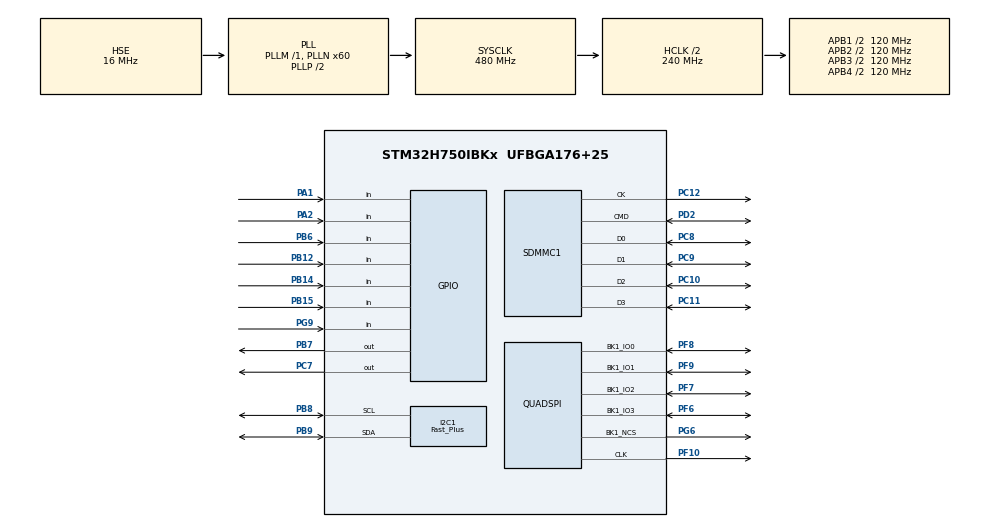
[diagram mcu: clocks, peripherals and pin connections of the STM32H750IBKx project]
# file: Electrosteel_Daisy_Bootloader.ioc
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CORTEX_M7.AccessPermission-Cortex_Memory_Protection_Unit_Region0_Settings=MPU_REGION_FULL_ACCESS
CORTEX_M7.BaseAddress-Cortex_Memory_Protection_Unit_Region0_Settings=0x90000000
CORTEX_M7.CPU_DCache=Disabled
CORTEX_M7.CPU_ICache=Disabled
CORTEX_M7.Enable-Cortex_Memory_Protection_Unit_Region0_Settings=MPU_REGION_ENABLE
CORTEX_M7.MPU_Control=MPU_PRIVILEGED_DEFAULT
CORTEX_M7.Size-Cortex_Memory_Protection_Unit_Region0_Settings=MPU_REGION_SIZE_8MB
CORTEX_M7.default_mode_Activation=0
FATFS.BSP.number=1
FATFS.USE_DMA_CODE_SD=0
FATFS._FS_NORTC=0
FATFS._USE_FASTSEEK=0
FATFS._USE_FIND=1
FATFS._USE_LFN=1
FATFS0.BSP.STBoard=false
FATFS0.BSP.api=Unknown
FATFS0.BSP.instance=PA1
FATFS0.BSP.ip=GPIO
FATFS0.BSP.mode=Input
FATFS0.BSP.name=Detect_SDIO
FATFS0.BSP.solution=PA1
I2C1.GeneralCallMode=I2C_GENERALCALL_DISABLE
I2C1.I2C_Speed_Mode=I2C_Fast_Plus
I2C1.OwnAddress=34
I2C1.Timing=0x0050174F
Mcu.Family=STM32H7
Mcu.Name=STM32H750IBKx
Mcu.Package=UFBGA176+25
NVIC.PriorityGroup=NVIC_PRIORITYGROUP_4
NVIC.SDMMC1_IRQn=true\:2\:0\:true\:false\:true\:true\:true\:true
PA1.GPIO_PuPd=GPIO_PULLUP
PA1.Signal=GPIO_Input
PA13\ (JTMS/SWDIO).Mode=Trace_Asynchronous_SW
PA13\ (JTMS/SWDIO).Signal=DEBUG_JTMS-SWDIO
PA14\ (JTCK/SWCLK).Mode=Trace_Asynchronous_SW
PA14\ (JTCK/SWCLK).Signal=DEBUG_JTCK-SWCLK
PA2.GPIO_PuPd=GPIO_PULLDOWN
PA2.Signal=GPIO_Input
PB12.Signal=GPIO_Input
PB14.GPIO_PuPd=GPIO_PULLDOWN
PB14.Signal=GPIO_Input
PB15.GPIO_PuPd=GPIO_PULLDOWN
PB15.Signal=GPIO_Input
PB3\ (JTDO/TRACESWO).Mode=Trace_Asynchronous_SW
PB3\ (JTDO/TRACESWO).Signal=DEBUG_JTDO-SWO
PB6.GPIO_PuPd=GPIO_PULLUP
PB6.Signal=GPIO_Input
PB7.Signal=GPIO_Output
PB8.GPIO_Speed=GPIO_SPEED_FREQ_VERY_HIGH
PB8.Mode=I2C
PB8.Signal=I2C1_SCL
PB9.GPIO_Speed=GPIO_SPEED_FREQ_VERY_HIGH
PB9.Mode=I2C
PB9.Signal=I2C1_SDA
PC10.GPIO_PuPd=GPIO_NOPULL
PC10.Mode=SD_4_bits_Wide_bus
PC10.Signal=SDMMC1_D2
PC11.GPIO_PuPd=GPIO_NOPULL
PC11.Mode=SD_4_bits_Wide_bus
PC11.Signal=SDMMC1_D3
PC12.GPIO_PuPd=GPIO_NOPULL
PC12.Mode=SD_4_bits_Wide_bus
PC12.Signal=SDMMC1_CK
PC7.Signal=GPIO_Output
PC8.GPIO_PuPd=GPIO_NOPULL
PC8.Mode=SD_4_bits_Wide_bus
PC8.Signal=SDMMC1_D0
PC9.GPIO_PuPd=GPIO_NOPULL
PC9.Mode=SD_4_bits_Wide_bus
PC9.Signal=SDMMC1_D1
PD2.GPIO_PuPd=GPIO_NOPULL
PD2.Mode=SD_4_bits_Wide_bus
PD2.Signal=SDMMC1_CMD
PF10.GPIO_Speed=GPIO_SPEED_FREQ_VERY_HIGH
PF10.Mode=Single Bank 1
PF10.Signal=QUADSPI_CLK
PF6.GPIO_Speed=GPIO_SPEED_FREQ_VERY_HIGH
PF6.Mode=Single Bank 1
PF6.Signal=QUADSPI_BK1_IO3
PF7.GPIO_Speed=GPIO_SPEED_FREQ_VERY_HIGH
PF7.Mode=Single Bank 1
PF7.Signal=QUADSPI_BK1_IO2
PF8.GPIO_Speed=GPIO_SPEED_FREQ_VERY_HIGH
PF8.Mode=Single Bank 1
PF8.Signal=QUADSPI_BK1_IO0
PF9.GPIO_Speed=GPIO_SPEED_FREQ_VERY_HIGH
PF9.Mode=Single Bank 1
PF9.Signal=QUADSPI_BK1_IO1
PG6.GPIO_Speed=GPIO_SPEED_FREQ_VERY_HIGH
PG6.Mode=Single Bank 1
PG6.Signal=QUADSPI_BK1_NCS
PG9.Signal=GPIO_Input
PH0-OSC_IN\ (PH0).Mode=HSE-External-Oscillator
PH0-OSC_IN\ (PH0).Signal=RCC_OSC_IN
PH1-OSC_OUT\ (PH1).Mode=HSE-External-Oscillator
PH1-OSC_OUT\ (PH1).Signal=RCC_OSC_OUT
ProjectManager.HeapSize=0x2000
ProjectManager.StackSize=0x4000
ProjectManager.TargetToolchain=STM32CubeIDE
QUADSPI.ClockPrescaler=1
QUADSPI.FlashSize=19
RCC.ADCCLockSelection=RCC_ADCCLKSOURCE_PLL3
RCC.ADCFreq_Value=12288085.9375
RCC.APB1Freq_Value=120000000
RCC.APB2Freq_Value=120000000
RCC.APB3Freq_Value=120000000
RCC.APB4Freq_Value=120000000
RCC.CKPERSourceSelection=RCC_CLKPSOURCE_HSE
RCC.CortexFreq_Value=480000000
RCC.D1PPRE=RCC_APB3_DIV2
RCC.D2PPRE1=RCC_APB1_DIV2
RCC.D2PPRE2=RCC_APB2_DIV2
RCC.D3PPRE=RCC_APB4_DIV2
RCC.DIVM1=1
RCC.DIVM2=1
RCC.DIVM3=1
RCC.DIVN1=60
RCC.DIVN2=12
RCC.DIVN3=12
RCC.DIVP2=8
RCC.DIVP3=4
RCC.DIVQ1=6
RCC.DIVQ3=8
RCC.DIVR1=8
RCC.DIVR3=16
RCC.FMCCLockSelection=RCC_FMCCLKSOURCE_PLL2
RCC.HCLKFreq_Value=240000000
RCC.HPRE=RCC_HCLK_DIV2
RCC.HSE_VALUE=16000000
RCC.PLL2FRACN=4096
RCC.PLL3FRACN=2360
RCC.PLLFRACN=0
RCC.PLLSourceVirtual=RCC_PLLSOURCE_HSE
RCC.ProductRev=revV
RCC.QSPICLockSelection=RCC_QSPICLKSOURCE_PLL2
RCC.SAI1CLockSelection=RCC_SAI1CLKSOURCE_PLL3
RCC.SAI23CLockSelection=RCC_SAI23CLKSOURCE_PLL3
RCC.SYSCLKFreq_VALUE=480000000
RCC.SYSCLKSource=RCC_SYSCLKSOURCE_PLLCLK
RCC.USBCLockSelection=RCC_USBCLKSOURCE_HSI48
RCC.USBFreq_Value=48000000
SDMMC1.ClockDiv=25
SDMMC1.USE_SD_TRANSCEIVER=0U
VP_FATFS_VS_SDIO.Mode=SDIO
board=custom

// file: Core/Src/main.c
/* USER CODE BEGIN Header */
/**
  ******************************************************************************
  * @file           : main.c
  * @brief          : Main program body
  ******************************************************************************
  * @attention
  *
  * Copyright (c) 2022 STMicroelectronics.
  * All rights reserved.
  *
  * This software is licensed under terms that can be found in the LICENSE file
  * in the root directory of this software component.
  * If no LICENSE file comes with this software, it is provided AS-IS.
  *
  ******************************************************************************
  */
/* USER CODE END Header */
#include "main.h"
#include "fatfs.h"
#include "i2c.h"
#include "quadspi.h"
#include "sdmmc.h"
#include "gpio.h"

/* USER CODE BEGIN Includes */
#include "flash.h"
/* USER CODE END Includes */

/* USER CODE BEGIN PD */
#define QSPI_START  0x90000000
/* USER CODE END PD */

void SystemClock_Config(void);
static void MPU_Config(void);
/* USER CODE BEGIN PFP */
static void FS_FileOperations(void);
void qspi_initialize(uint8_t mode);
__attribute__((noreturn)) static void boot_to(uint32_t addr);
void qspi_enable_memory_mapped();
void i2cError(void);
void checkForNewFirmwareFromMainSynthBoard(void);
/* USER CODE END PFP */

/* USER CODE BEGIN 0 */
FILINFO fno;
DIR dir;

uint8_t tempBinaryBuffer[262144] __ATTR_SRAM;
UINT bytesRead = 0;
uint32_t binSize = 4000;
uint8_t flash_mem[262144] __ATTR_QSPI;
uint8_t volatile bootloaderFlag[32] __ATTR_USER_FLASH;
uint8_t bootloader_button_pressed = 0;

/* Private typedef -----------------------------------------------------------*/
typedef  void (*pFunction)(void);
/* Private define ------------------------------------------------------------*/
/* Private macro -------------------------------------------------------------*/
/* Private variables ---------------------------------------------------------*/
pFunction JumpToApplication;

#define APPLICATION_ADDRESS (uint32_t)0x24000000
volatile uint8_t memory_already_mapped = 0;
uint8_t boardNumber = 255;

void FlushECC(void *ptr, int bytes)
{

	uint32_t addr = (uint32_t)ptr;
	/* Check if accessing AXI SRAM => 64-bit words*/
	if(addr >= 0x24000000 && addr < 0x24080000){
		volatile uint64_t temp;
		volatile uint64_t* flush_ptr = (uint64_t*) (addr & 0xFFFFFFF8);
		uint64_t *end_ptr = (uint64_t*) ((addr+bytes) & 0xFFFFFFF8);

		do{
			temp = *flush_ptr;
			*flush_ptr = temp;
			flush_ptr++;
		}while(flush_ptr != end_ptr);
	}
	/* Otherwise 32-bit words */
	else {
		volatile uint32_t temp;
		volatile uint32_t* flush_ptr = (uint32_t*) (addr & 0xFFFFFFFC);
		uint32_t *end_ptr = (uint32_t*) ((addr+bytes) & 0xFFFFFFFC);

		do{
			temp = *flush_ptr;
			*flush_ptr = temp;
			flush_ptr++;
		}while(flush_ptr != end_ptr);
	}
}

uint8_t BSP_SD_IsDetected(void)
{
  __IO uint8_t status = SD_PRESENT;

  //if (BSP_PlatformIsDetected() == 0x0)
  {
    //status = SD_NOT_PRESENT;
  }

  return status;
}

/* USER CODE END 0 */

int main(void)
{

  /* USER CODE BEGIN 1 */
	  /* Enable I-Cache---------------------------------------------------------*/
	  //SCB_EnableICache();

	  /* Enable D-Cache---------------------------------------------------------*/
	  //SCB_EnableDCache();

  /* USER CODE END 1 */

  /* MPU Configuration--------------------------------------------------------*/
  MPU_Config();

  /* MCU Configuration--------------------------------------------------------*/

  /* Reset of all peripherals, Initializes the Flash interface and the Systick. */
  HAL_Init();

  /* Configure the system clock */
  SystemClock_Config();

  /* Initialize all configured peripherals */
  MX_GPIO_Init();
  MX_QUADSPI_Init();
  MX_SDMMC1_SD_Init();
  MX_FATFS_Init();
  MX_I2C1_Init();
  /* USER CODE BEGIN 2 */

  /* Enable write access to Backup domain */
     PWR->CR1 |= PWR_CR1_DBP;
     while((PWR->CR1 & PWR_CR1_DBP) == RESET)
     {
  	   ;
     }
     /*Enable BKPRAM clock*/
     __HAL_RCC_BKPRAM_CLK_ENABLE();
     HAL_GPIO_WritePin(GPIOB, GPIO_PIN_7, GPIO_PIN_SET);
     HAL_Delay(100);
 	int bit0 = HAL_GPIO_ReadPin(GPIOB, GPIO_PIN_15);
 	int bit1 = HAL_GPIO_ReadPin(GPIOB, GPIO_PIN_14);
 	int bit2 = HAL_GPIO_ReadPin(GPIOA, GPIO_PIN_2);
 	int bit3 = HAL_GPIO_ReadPin(GPIOG, GPIO_PIN_9);
 	boardNumber = (bit0 + (bit1 << 1)+(bit2 << 2)+(bit3 << 3));
 	if (boardNumber == 0)
 	{
		  //set up the master send control pin to signal other daisies to listen to I2C bus
		  HAL_NVIC_DisableIRQ(EXTI15_10_IRQn);

 		  GPIO_InitTypeDef GPIO_InitStruct = {0};
		  GPIO_InitStruct.Pin = GPIO_PIN_12;
		  GPIO_InitStruct.Mode = GPIO_MODE_OUTPUT_PP;
		  GPIO_InitStruct.Pull = GPIO_PULLDOWN;
		  GPIO_InitStruct.Speed = GPIO_SPEED_FREQ_LOW;

		  HAL_GPIO_Init(GPIOB, &GPIO_InitStruct);
 		  HAL_GPIO_WritePin(GPIOB, GPIO_PIN_12, GPIO_PIN_RESET);

 		if (HAL_GPIO_ReadPin(GPIOB, GPIO_PIN_6) == 0)
 		{
 			bootloader_button_pressed = 1;
 		}
 		else
 		{
 			bootloader_button_pressed = 0;
 		}
 	}
    //if (*(__IO uint32_t*)(0x38800000+36) != 12345678)

	qspi_initialize(INDIRECT_POLLING);
	HAL_GPIO_WritePin(GPIOB, GPIO_PIN_7, GPIO_PIN_RESET);

	if (bootloader_button_pressed == 1)
	{
		HAL_GPIO_WritePin(GPIOB, GPIO_PIN_12, GPIO_PIN_SET); // tell the other ICs

		MX_I2C1_Init();
		MX_SDMMC1_SD_Init();
		MX_FATFS_Init();

		int i = 6;
		while(i--)
		{
		  HAL_GPIO_TogglePin(GPIOC, GPIO_PIN_7);
		  HAL_Delay(100);
		}

		FS_FileOperations();

		if (!memory_already_mapped)
		{
		  qspi_enable_memory_mapped();
		}

		//copy qspi flash code into SRAM location on every boot.
		for (int i = 0; i < 262140; i++)
		{
		  tempBinaryBuffer[i] = flash_mem[i];
		}

		//wait for manual bootloader button to go up (lets us test things by holding the device in this state)
		while(HAL_GPIO_ReadPin(GPIOB, GPIO_PIN_6) == 0)
		{
		  ;
		}
		//bring signal pin down to tell the other chips we're ready to send firmware over I2C
		HAL_GPIO_WritePin(GPIOB, GPIO_PIN_12, GPIO_PIN_RESET);
		HAL_Delay(100); //wait for them to receive and get ready

		HAL_GPIO_WritePin(GPIOC, GPIO_PIN_7, GPIO_PIN_SET);
		HAL_I2C_Master_Transmit(&hi2c1, 34<<1, tempBinaryBuffer, 65535,
			10000);
		HAL_Delay(500);
		HAL_GPIO_WritePin(GPIOC, GPIO_PIN_7, GPIO_PIN_RESET);
		HAL_I2C_Master_Transmit(&hi2c1, 34<<1, tempBinaryBuffer+65535, 65535,
			10000);
		HAL_Delay(500);
		HAL_GPIO_WritePin(GPIOC, GPIO_PIN_7, GPIO_PIN_SET);
		HAL_I2C_Master_Transmit(&hi2c1, 34<<1, tempBinaryBuffer+131070, 65535,
			10000);
		HAL_Delay(500);
		HAL_GPIO_WritePin(GPIOC, GPIO_PIN_7, GPIO_PIN_RESET);
		HAL_I2C_Master_Transmit(&hi2c1, 34<<1, tempBinaryBuffer+196605, 65535,
			10000);
		HAL_GPIO_WritePin(GPIOC, GPIO_PIN_7, GPIO_PIN_SET);

		HAL_Delay(6000);
		HAL_GPIO_WritePin(GPIOC, GPIO_PIN_7, GPIO_PIN_RESET);
		HAL_QSPI_MspDeInit(&hqspi);
		HAL_I2C_DeInit(&hi2c1);
		HAL_SD_MspDeInit(&hsd1);

		HAL_RCC_DeInit();
		HAL_DeInit();
		SysTick->CTRL = 0;
		SysTick->LOAD = 0;
		SysTick->VAL  = 0;

		HAL_NVIC_SystemReset();

	}

    else
    {
		int i = 6;
		HAL_Delay(10);
		while(i--)
		{
			HAL_GPIO_TogglePin(GPIOC, GPIO_PIN_7);
			HAL_Delay(60);
		}
		checkForNewFirmwareFromMainSynthBoard();
		if (!memory_already_mapped)
		{
		 	qspi_enable_memory_mapped();

		}
		//copy qspi flash code into SRAM location on every boot.
		for (int i = 0; i < 262140; i++)
		{
			tempBinaryBuffer[i] = flash_mem[i];
		}

		HAL_GPIO_TogglePin(GPIOC, GPIO_PIN_7);
		JumpToApplication = (pFunction) (*(__IO uint32_t*) (APPLICATION_ADDRESS+4));
		HAL_GPIO_WritePin(GPIOB, GPIO_PIN_7, GPIO_PIN_SET);
		HAL_Delay(1);
		if (((uint32_t)JumpToApplication > 0x30000000) ||  ((uint32_t)JumpToApplication < 0x24000000) )
		{
			//out of range, not a valid firmware
			while(1)
			{
				if (memory_already_mapped)
				{
					qspi_initialize(INDIRECT_POLLING);
				}
				HAL_Delay(1);
				HAL_GPIO_TogglePin(GPIOC, GPIO_PIN_7);
			}
		}
		//otherwise, boot it up!
		HAL_QSPI_MspDeInit(&hqspi);

		HAL_RCC_DeInit();
		HAL_DeInit();
		__disable_irq();

		NVIC->ICER[0] = 0xFFFFFFFF;
		NVIC->ICER[1] = 0xFFFFFFFF;
		NVIC->ICER[2] = 0xFFFFFFFF;
		NVIC->ICER[3] = 0xFFFFFFFF;
		NVIC->ICER[4] = 0xFFFFFFFF;
		NVIC->ICER[5] = 0xFFFFFFFF;
		NVIC->ICER[6] = 0xFFFFFFFF;
		NVIC->ICER[7] = 0xFFFFFFFF;

		NVIC->ICPR[0] = 0xFFFFFFFF;
		NVIC->ICPR[1] = 0xFFFFFFFF;
		NVIC->ICPR[2] = 0xFFFFFFFF;
		NVIC->ICPR[3] = 0xFFFFFFFF;
		NVIC->ICPR[4] = 0xFFFFFFFF;
		NVIC->ICPR[5] = 0xFFFFFFFF;
		NVIC->ICPR[6] = 0xFFFFFFFF;
		NVIC->ICPR[7] = 0xFFFFFFFF;

		SysTick->CTRL = 0;
		SysTick->LOAD = 0; // Needed?
		SysTick->VAL = 0;  // Needed?
		SCB->ICSR |= SCB_ICSR_PENDSTCLR_Msk;

		SCB->SHCSR &= ~(SCB_SHCSR_USGFAULTENA_Msk | //
						SCB_SHCSR_BUSFAULTENA_Msk | //
						SCB_SHCSR_MEMFAULTENA_Msk);

		__set_MSP(*(__IO uint32_t*) APPLICATION_ADDRESS);
		__set_PSP(*(__IO uint32_t*) APPLICATION_ADDRESS);
		SCB->VTOR = APPLICATION_ADDRESS;
		__set_CONTROL(0);

		SysTick->CTRL = 0;
		SysTick->LOAD = 0;
		SysTick->VAL  = 0;

		JumpToApplication();
	}

  /* USER CODE END 2 */

  /* Infinite loop */
	while (1)
	{

	}
}

void SystemClock_Config(void)
{
  RCC_OscInitTypeDef RCC_OscInitStruct = {0};
  RCC_ClkInitTypeDef RCC_ClkInitStruct = {0};

  /** Supply configuration update enable
  */
  HAL_PWREx_ConfigSupply(PWR_LDO_SUPPLY);

  /** Configure the main internal regulator output voltage
  */
  __HAL_PWR_VOLTAGESCALING_CONFIG(PWR_REGULATOR_VOLTAGE_SCALE0);

  while(!__HAL_PWR_GET_FLAG(PWR_FLAG_VOSRDY)) {}

  /** Initializes the RCC Oscillators according to the specified parameters
  * in the RCC_OscInitTypeDef structure.
  */
  RCC_OscInitStruct.OscillatorType = RCC_OSCILLATORTYPE_HSE;
  RCC_OscInitStruct.HSEState = RCC_HSE_ON;
  RCC_OscInitStruct.PLL.PLLState = RCC_PLL_ON;
  RCC_OscInitStruct.PLL.PLLSource = RCC_PLLSOURCE_HSE;
  RCC_OscInitStruct.PLL.PLLM = 1;
  RCC_OscInitStruct.PLL.PLLN = 60;
  RCC_OscInitStruct.PLL.PLLP = 2;
  RCC_OscInitStruct.PLL.PLLQ = 6;
  RCC_OscInitStruct.PLL.PLLR = 8;
  RCC_OscInitStruct.PLL.PLLRGE = RCC_PLL1VCIRANGE_3;
  RCC_OscInitStruct.PLL.PLLVCOSEL = RCC_PLL1VCOWIDE;
  RCC_OscInitStruct.PLL.PLLFRACN = 0;
  if (HAL_RCC_OscConfig(&RCC_OscInitStruct) != HAL_OK)
  {
    Error_Handler();
  }

  /** Initializes the CPU, AHB and APB buses clocks
  */
  RCC_ClkInitStruct.ClockType = RCC_CLOCKTYPE_HCLK|RCC_CLOCKTYPE_SYSCLK
                              |RCC_CLOCKTYPE_PCLK1|RCC_CLOCKTYPE_PCLK2
                              |RCC_CLOCKTYPE_D3PCLK1|RCC_CLOCKTYPE_D1PCLK1;
  RCC_ClkInitStruct.SYSCLKSource = RCC_SYSCLKSOURCE_PLLCLK;
  RCC_ClkInitStruct.SYSCLKDivider = RCC_SYSCLK_DIV1;
  RCC_ClkInitStruct.AHBCLKDivider = RCC_HCLK_DIV2;
  RCC_ClkInitStruct.APB3CLKDivider = RCC_APB3_DIV2;
  RCC_ClkInitStruct.APB1CLKDivider = RCC_APB1_DIV2;
  RCC_ClkInitStruct.APB2CLKDivider = RCC_APB2_DIV2;
  RCC_ClkInitStruct.APB4CLKDivider = RCC_APB4_DIV2;

  if (HAL_RCC_ClockConfig(&RCC_ClkInitStruct, FLASH_LATENCY_4) != HAL_OK)
  {
    Error_Handler();
  }
}

/* USER CODE BEGIN 4 */
void i2cError(void)
{
	while(1)
	{
		HAL_GPIO_WritePin(GPIOC, GPIO_PIN_7, GPIO_PIN_SET);
		HAL_Delay(1000);
		HAL_GPIO_WritePin(GPIOC, GPIO_PIN_7, GPIO_PIN_RESET);
		HAL_Delay(1000);
	}
}

void qspi_error(void)
{
	while(1)
	{
		HAL_GPIO_WritePin(GPIOC, GPIO_PIN_7, GPIO_PIN_SET);
		HAL_Delay(500);
		HAL_GPIO_WritePin(GPIOC, GPIO_PIN_7, GPIO_PIN_RESET);
		HAL_Delay(500);
	}

}

int AutopollingMemReady(int timeout)
{
	 int ok = 0;
	QSPI_CommandTypeDef     s_command;
	    QSPI_AutoPollingTypeDef s_config;

	    /* Configure automatic polling mode to wait for memory ready */
	    s_command.InstructionMode   = QSPI_INSTRUCTION_1_LINE;
	    s_command.Instruction       = READ_STATUS_REG_CMD;
	    s_command.AddressMode       = QSPI_ADDRESS_NONE;
	    s_command.AlternateByteMode = QSPI_ALTERNATE_BYTES_NONE;
	    s_command.DataMode          = QSPI_DATA_1_LINE;
	    s_command.DummyCycles       = 0;
	    s_command.DdrMode           = QSPI_DDR_MODE_DISABLE;
	    s_command.DdrHoldHalfCycle  = QSPI_DDR_HHC_ANALOG_DELAY;
	    s_command.SIOOMode          = QSPI_SIOO_INST_EVERY_CMD;

	    s_config.Match         = 0;
	    s_config.MatchMode     = QSPI_MATCH_MODE_AND;
	    s_config.Interval      = 0x10;
	    s_config.AutomaticStop = QSPI_AUTOMATIC_STOP_ENABLE;
	    s_config.Mask          = IS25LP064A_SR_WIP;
	    //s_config.Mask            = 0;
	    s_config.StatusBytesSize = 1;

	    if(HAL_QSPI_AutoPolling(&hqspi, &s_command, &s_config, timeout)
	       != HAL_OK)
	    {
	    	qspi_error();
	    }

	    ok= 1;
	    return ok;

}

int qspi_WriteEnable()
{
	 int ok = 0;
	QSPI_CommandTypeDef     s_command;
	    QSPI_AutoPollingTypeDef s_config;

	    /* Enable write operations */
	    s_command.InstructionMode   = QSPI_INSTRUCTION_1_LINE;
	    s_command.Instruction       = WRITE_ENABLE_CMD;
	    s_command.AddressMode       = QSPI_ADDRESS_NONE;
	    s_command.AlternateByteMode = QSPI_ALTERNATE_BYTES_NONE;
	    s_command.DataMode          = QSPI_DATA_NONE;
	    s_command.DummyCycles       = 0;
	    s_command.DdrMode           = QSPI_DDR_MODE_DISABLE;
	    s_command.DdrHoldHalfCycle  = QSPI_DDR_HHC_ANALOG_DELAY;
	    s_command.SIOOMode          = QSPI_SIOO_INST_EVERY_CMD;

	    //RETURN_IF_ERR(CheckProgramMemory());

	    if(HAL_QSPI_Command(&hqspi, &s_command, HAL_QPSI_TIMEOUT_DEFAULT_VALUE)
	       != HAL_OK)
	    {
	    	qspi_error();
	    }

	    /* Configure automatic polling mode to wait for write enabling */
	    //        s_config.Match           = IS25LP080D_SR_WREN | (IS25LP080D_SR_WREN << 8);
	    //        s_config.Mask            = IS25LP080D_SR_WREN | (IS25LP080D_SR_WREN << 8);
	    s_config.MatchMode       = QSPI_MATCH_MODE_AND;
	    s_config.Match           = IS25LP064A_SR_WREN;
	    s_config.Mask            = IS25LP064A_SR_WREN;
	    s_config.Interval        = 0x10;
	    s_config.StatusBytesSize = 1;
	    s_config.AutomaticStop   = QSPI_AUTOMATIC_STOP_ENABLE;

	    s_command.Instruction = READ_STATUS_REG_CMD;
	    s_command.DataMode    = QSPI_DATA_1_LINE;

	    if(HAL_QSPI_AutoPolling(
	           &hqspi, &s_command, &s_config, HAL_QPSI_TIMEOUT_DEFAULT_VALUE)
	       != HAL_OK)
	    {
	    	qspi_error();
	    }

	    ok= 1;
	    return ok;

}

void qspi_reset_memory(void)
{
	//reset memory
		QSPI_CommandTypeDef s_command;

		    /* Initialize the reset enable command */
		    s_command.InstructionMode   = QSPI_INSTRUCTION_1_LINE;
		    s_command.Instruction       = RESET_ENABLE_CMD;
		    s_command.AddressMode       = QSPI_ADDRESS_NONE;
		    s_command.AlternateByteMode = QSPI_ALTERNATE_BYTES_NONE;
		    s_command.DataMode          = QSPI_DATA_NONE;
		    s_command.DummyCycles       = 0;
		    s_command.DdrMode           = QSPI_DDR_MODE_DISABLE;
		    s_command.DdrHoldHalfCycle  = QSPI_DDR_HHC_ANALOG_DELAY;
		    s_command.SIOOMode          = QSPI_SIOO_INST_EVERY_CMD;

		    /* Send the command */
		    if(HAL_QSPI_Command(&hqspi, &s_command, HAL_QPSI_TIMEOUT_DEFAULT_VALUE)
		       != HAL_OK)
		    {
		    	qspi_error();
		    }

		    /* Send the reset memory command */
		    s_command.Instruction = RESET_MEMORY_CMD;
		    if(HAL_QSPI_Command(&hqspi, &s_command, HAL_QPSI_TIMEOUT_DEFAULT_VALUE)
		       != HAL_OK)
		    {
		    	qspi_error();
		    }

		    /* Configure automatic polling mode to wait the memory is ready */
		    if(AutopollingMemReady(HAL_QPSI_TIMEOUT_DEFAULT_VALUE)
		       != 1)
		    {
		    	qspi_error();
		    }

}

void qspi_dummy_cycles_config()
{
	 QSPI_CommandTypeDef s_command;
	    uint16_t            reg     = 0;
	    s_command.InstructionMode   = QSPI_INSTRUCTION_1_LINE;
	    s_command.AddressMode       = QSPI_ADDRESS_NONE;
	    s_command.AlternateByteMode = QSPI_ALTERNATE_BYTES_NONE;
	    s_command.DataMode          = QSPI_DATA_1_LINE;
	    s_command.DummyCycles       = 0;
	    s_command.NbData            = 1;
	    s_command.DdrMode           = QSPI_DDR_MODE_DISABLE;
	    s_command.DdrHoldHalfCycle  = QSPI_DDR_HHC_ANALOG_DELAY;
	    s_command.SIOOMode          = QSPI_SIOO_INST_EVERY_CMD;
	    // Only volatile Read Params on 16MB chip.
	           // Explicitly set:
	           // Burst Length: 8 bytes (0, 0)
	           // Wrap Enable: 0
	           // Dummy Cycles: (Config 3, bits 1 0)
	           // Drive Strength (50%, bits 1 1 1)
	           // Byte to write: 0b11110000 (0xF0)
	           // TODO: Probably expand Burst to maximum if that works out.

	           reg = 0xF0;
	           /* Update volatile configuration register (with new dummy cycles) */
	             s_command.Instruction = WRITE_READ_PARAM_REG_CMD;
	             /* Configure the write volatile configuration register command */
	             if(HAL_QSPI_Command(&hqspi, &s_command, HAL_QPSI_TIMEOUT_DEFAULT_VALUE)
	                != HAL_OK)
	             {
	            	 qspi_error();
	             }

	             /* Transmission of the data */
	             if(HAL_QSPI_Transmit(
	                    &hqspi, (uint8_t*)(&reg), HAL_QPSI_TIMEOUT_DEFAULT_VALUE)
	                != HAL_OK)
	             {
	            	 qspi_error();
	             }

	             /* Configure automatic polling mode to wait the memory is ready */
	             if(AutopollingMemReady(HAL_QPSI_TIMEOUT_DEFAULT_VALUE)
	                != 1)
	             {
	            	 qspi_error();
	             }
}

void qspi_quad_enable()
{
	 QSPI_CommandTypeDef     s_command;
	    QSPI_AutoPollingTypeDef s_config;
	    uint8_t                 reg = 0;

	    /* Enable write operations */
	    s_command.InstructionMode   = QSPI_INSTRUCTION_1_LINE;
	    s_command.Instruction       = WRITE_STATUS_REG_CMD;
	    s_command.AddressMode       = QSPI_ADDRESS_NONE;
	    s_command.AlternateByteMode = QSPI_ALTERNATE_BYTES_NONE;
	    s_command.DataMode          = QSPI_DATA_1_LINE;
	    s_command.DummyCycles       = 0;
	    s_command.NbData            = 1;
	    s_command.DdrMode           = QSPI_DDR_MODE_DISABLE;
	    s_command.DdrHoldHalfCycle  = QSPI_DDR_HHC_ANALOG_DELAY;
	    s_command.SIOOMode          = QSPI_SIOO_INST_EVERY_CMD;

	    /* Enable write operations */
	    if(qspi_WriteEnable() != 1)
	    {
	    	qspi_error();
	    }

	    if(HAL_QSPI_Command(&hqspi, &s_command, HAL_QPSI_TIMEOUT_DEFAULT_VALUE)
	       != HAL_OK)
	    {
	    	qspi_error();
	    }

	    //    reg = 0;
	    //    MODIFY_REG(reg,
	    //        0xF0,
	    //        (IS25LP08D_SR_QE));
	    reg = IS25LP064A_SR_QE; // Set QE bit  to 1
	    /* Transmission of the data */
	    if(HAL_QSPI_Transmit(
	           &hqspi, (uint8_t*)(&reg), HAL_QPSI_TIMEOUT_DEFAULT_VALUE)
	       != HAL_OK)
	    {
	    	qspi_error();
	    }

	    /* Configure automatic polling mode to wait for write enabling */
	    //    s_config.Match           = IS25LP08D_SR_WREN | (IS25LP08D_SR_WREN << 8);
	    //    s_config.Mask            = IS25LP08D_SR_WREN | (IS25LP08D_SR_WREN << 8);
	    //    s_config.MatchMode       = QSPI_MATCH_MODE_AND;
	    //    s_config.StatusBytesSize = 2;
	    s_config.Match           = IS25LP064A_SR_QE;
	    s_config.Mask            = IS25LP064A_SR_QE;
	    s_config.MatchMode       = QSPI_MATCH_MODE_AND;
	    s_config.StatusBytesSize = 1;

	    s_config.Interval      = 0x10;
	    s_config.AutomaticStop = QSPI_AUTOMATIC_STOP_ENABLE;

	    s_command.Instruction = READ_STATUS_REG_CMD;
	    s_command.DataMode    = QSPI_DATA_1_LINE;

	    if(HAL_QSPI_AutoPolling(
	           &hqspi, &s_command, &s_config, HAL_QPSI_TIMEOUT_DEFAULT_VALUE)
	       != HAL_OK)
	    {
	    	qspi_error();
	    }

	    /* Configure automatic polling mode to wait the memory is ready */
	    if(AutopollingMemReady(HAL_QPSI_TIMEOUT_DEFAULT_VALUE)
	       != 1)
	    {
	    	qspi_error();
	    }

}

void qspi_enable_memory_mapped()
{
	   QSPI_CommandTypeDef      s_command;
	    QSPI_MemoryMappedTypeDef s_mem_mapped_cfg;

	    /* Configure the command for the read instruction */
	    s_command.InstructionMode = QSPI_INSTRUCTION_1_LINE;
	    s_command.Instruction     = QUAD_INOUT_FAST_READ_CMD;
	    s_command.AddressMode     = QSPI_ADDRESS_4_LINES;
	    s_command.AddressSize     = QSPI_ADDRESS_24_BITS;
	    //    s_command.AlternateByteMode = QSPI_ALTERNATE_BYTES_NONE;
	    //s_command.DummyCycles       = IS25LP080D_DUMMY_CYCLES_READ_QUAD;
	    s_command.AlternateByteMode  = QSPI_ALTERNATE_BYTES_4_LINES;
	    s_command.AlternateBytesSize = QSPI_ALTERNATE_BYTES_8_BITS;
	    s_command.AlternateBytes     = 0x000000A0;
	    s_command.DummyCycles        = 6;
	    s_command.DdrMode            = QSPI_DDR_MODE_DISABLE;
	    s_command.DdrHoldHalfCycle   = QSPI_DDR_HHC_ANALOG_DELAY;
	    //s_command.SIOOMode          = QSPI_SIOO_INST_EVERY_CMD;
	    s_command.SIOOMode = QSPI_SIOO_INST_ONLY_FIRST_CMD;
	    s_command.DataMode = QSPI_DATA_4_LINES;

	    /* Configure the memory mapped mode */
	    s_mem_mapped_cfg.TimeOutActivation = QSPI_TIMEOUT_COUNTER_DISABLE;
	    s_mem_mapped_cfg.TimeOutPeriod     = 0;
	    uint32_t qspiresult = HAL_QSPI_MemoryMapped(&hqspi, &s_command, &s_mem_mapped_cfg);
	    if(qspiresult
	       != HAL_OK)
	    {
	    	qspi_error();
	    }
	    memory_already_mapped = 1;
}

void qspi_initialize(uint8_t mode)
{
	HAL_QSPI_DeInit(&hqspi);
	HAL_QSPI_Init(&hqspi);

	qspi_reset_memory();
	qspi_dummy_cycles_config();
	qspi_quad_enable();
	if (mode == MEMORY_MAPPED)
	{
		qspi_enable_memory_mapped();
	}
	else
	{
		memory_already_mapped = 0;
	}
}

void qspi_SetMode(uint8_t mode)
{
	if (mode == INDIRECT_POLLING)
	{
		//qspi_initialize(INDIRECT_POLLING);
	}
	else if (mode == MEMORY_MAPPED)
	{
		qspi_enable_memory_mapped();
	}

}

int qpsi_EraseSector(uint32_t address)
{
    int ok = 0;
	uint8_t             use_qpi = 0;
    QSPI_CommandTypeDef s_command;
    if(use_qpi)
    {
        s_command.InstructionMode = QSPI_INSTRUCTION_4_LINES;
        s_command.Instruction     = SECTOR_ERASE_QPI_CMD;
        s_command.AddressMode     = QSPI_ADDRESS_4_LINES;
    }
    else
    {
        s_command.InstructionMode = QSPI_INSTRUCTION_1_LINE;
        s_command.Instruction     = SECTOR_ERASE_CMD;
        s_command.AddressMode     = QSPI_ADDRESS_1_LINE;
    }
    s_command.AddressSize       = QSPI_ADDRESS_24_BITS;
    s_command.AlternateByteMode = QSPI_ALTERNATE_BYTES_NONE;
    s_command.DataMode          = QSPI_DATA_NONE;
    s_command.DummyCycles       = 0;
    s_command.NbData            = 1;
    s_command.DdrMode           = QSPI_DDR_MODE_DISABLE;
    s_command.DdrHoldHalfCycle  = QSPI_DDR_HHC_ANALOG_DELAY;
    s_command.SIOOMode          = QSPI_SIOO_INST_EVERY_CMD;
    s_command.Address           = address;

    // Erasing takes a long time anyway, so not much point trying to
    // minimize reinitializations
    qspi_SetMode(INDIRECT_POLLING);

    if(qspi_WriteEnable() != 1)
    {
    	qspi_error();
    }
    if(HAL_QSPI_Command(&hqspi, &s_command, HAL_QPSI_TIMEOUT_DEFAULT_VALUE)
       != HAL_OK)
    {
    	qspi_error();
    }
    if(AutopollingMemReady(HAL_QPSI_TIMEOUT_DEFAULT_VALUE)
       != 1)
    {
    	qspi_error();
    }

    //qspi_SetMode(MEMORY_MAPPED);

    ok= 1;
    return ok;

}

void qspi_Erase(uint32_t start_addr, uint32_t end_addr)
{
    uint32_t block_addr;
    uint32_t block_size = IS25LP064A_SECTOR_SIZE; // 4kB blocks for now.
    // 64kB chunks for now.
    start_addr = start_addr - (start_addr % block_size);
    while(end_addr > start_addr)
    {
        block_addr = start_addr & 0x0FFFFFFF;
        if(qpsi_EraseSector(block_addr) != 1)
        {
        	qspi_error();
        }
        start_addr += block_size;
    }
}

int qspi_WritePage(uint32_t address, uint32_t size, uint8_t* buffer, uint8_t     reset_mode)
{
	  //RETURN_IF_ERR(CheckProgramMemory());
	int ok = 0;

	qspi_SetMode(INDIRECT_POLLING);

	    QSPI_CommandTypeDef s_command;
	    s_command.InstructionMode   = QSPI_INSTRUCTION_1_LINE;
	    s_command.Instruction       = PAGE_PROG_CMD;
	    s_command.AddressMode       = QSPI_ADDRESS_1_LINE;
	    s_command.AddressSize       = QSPI_ADDRESS_24_BITS;
	    s_command.AlternateByteMode = QSPI_ALTERNATE_BYTES_NONE;
	    s_command.DataMode          = QSPI_DATA_1_LINE;
	    s_command.DummyCycles       = 0;
	    s_command.NbData            = size <= 256 ? size : 256;
	    s_command.DdrMode           = QSPI_DDR_MODE_DISABLE;
	    s_command.DdrHoldHalfCycle  = QSPI_DDR_HHC_ANALOG_DELAY;
	    s_command.SIOOMode          = QSPI_SIOO_INST_EVERY_CMD;
	    s_command.Address           = address;
	    if(qspi_WriteEnable() != 1)
	    {
	    	qspi_error();
	    }
	    if(HAL_QSPI_Command(&hqspi, &s_command, HAL_QPSI_TIMEOUT_DEFAULT_VALUE)
	       != HAL_OK)
	    {
	    	qspi_error();
	    }
	    if(HAL_QSPI_Transmit(
	           &hqspi, (uint8_t*)buffer, HAL_QPSI_TIMEOUT_DEFAULT_VALUE)
	       != HAL_OK)
	    {
	    	qspi_error();
	    }
	    if(AutopollingMemReady(HAL_QPSI_TIMEOUT_DEFAULT_VALUE)
	       != 1)
	    {
	    	qspi_error();
	    }

	    if(reset_mode)
	    	qspi_SetMode(MEMORY_MAPPED);

	    ok= 1;
	    return ok;

}

void qspi_Write(uint32_t address, uint32_t size, uint8_t* buffer)
{
	 uint32_t NumOfPage = 0, NumOfSingle = 0, Addr = 0, count = 0, temp = 0;
	    uint32_t QSPI_DataNum    = 0;
	    uint32_t flash_page_size = IS25LP064A_PAGE_SIZE;
	    address                  = address & 0x0FFFFFFF;
	    Addr                     = address % flash_page_size;
	    count                    = flash_page_size - Addr;
	    NumOfPage                = size / flash_page_size;
	    NumOfSingle              = size % flash_page_size;

	    if(Addr == 0) /*!< Address is QSPI_PAGESIZE aligned  */
	    {
	        if(NumOfPage == 0) /*!< NumByteToWrite < QSPI_PAGESIZE */
	        {
	            QSPI_DataNum = size;
	            qspi_WritePage(address, QSPI_DataNum, buffer, 0);
	        }
	        else /*!< Size > QSPI_PAGESIZE */
	        {
	            while(NumOfPage--)
	            {
	                QSPI_DataNum = flash_page_size;
	                qspi_WritePage(address, QSPI_DataNum, buffer, 0);
	                address += flash_page_size;
	                buffer += flash_page_size;
	            }

	            QSPI_DataNum = NumOfSingle;
	            if(QSPI_DataNum > 0)
	            	qspi_WritePage(address, QSPI_DataNum, buffer, 0);
	        }
	    }
	    else /*!< Address is not QSPI_PAGESIZE aligned  */
	    {
	        if(NumOfPage == 0) /*!< Size < QSPI_PAGESIZE */
	        {
	            if(NumOfSingle > count) /*!< (Size + Address) > QSPI_PAGESIZE */
	            {
	                temp         = NumOfSingle - count;
	                QSPI_DataNum = count;
	                qspi_WritePage(address, QSPI_DataNum, buffer, 0);
	                address += count;
	                buffer += count;
	                QSPI_DataNum = temp;
	                qspi_WritePage(address, QSPI_DataNum, buffer, 0);
	            }
	            else
	            {
	                QSPI_DataNum = size;
	                qspi_WritePage(address, QSPI_DataNum, buffer, 0);
	            }
	        }
	        else /*!< Size > QSPI_PAGESIZE */
	        {
	            size -= count;
	            NumOfPage    = size / flash_page_size;
	            NumOfSingle  = size % flash_page_size;
	            QSPI_DataNum = count;
	            qspi_WritePage(address, QSPI_DataNum, buffer, 0);
	            address += count;
	            buffer += count;

	            while(NumOfPage--)
	            {
	                QSPI_DataNum = flash_page_size;
	                qspi_WritePage(address, QSPI_DataNum, buffer, 0);
	                address += flash_page_size;
	                buffer += flash_page_size;
	            }

	            if(NumOfSingle != 0)
	            {
	                QSPI_DataNum = NumOfSingle;
	                qspi_WritePage(address, QSPI_DataNum, buffer, 0);
	            }
	        }
	    }

	    qspi_SetMode(MEMORY_MAPPED);

}

static void FS_FileOperations(void)
{
	HAL_Delay(500);
	disk_initialize(0);
    disk_status(0);
    //if (statusH != RES_OK)
    //{
      //ShowDiskStatus(status);
    //}

	if(f_mount(&SDFatFS,  SDPath, 1) == FR_OK)
	{

		FRESULT res;

		//search for .bin firmware files
		res = f_findfirst(&dir, &fno, SDPath, "Electrosteel_Daisy_Audio.bin");

		/* Repeat while an item is found */
		if (fno.fname[0])
		{
		  if(res == FR_OK)
		  {
				if(f_open(&SDFile, fno.fname, FA_OPEN_ALWAYS | FA_READ) == FR_OK)
				{

					//write to local SRAM, then copy that to QSPI flash for more permanent storage
					f_read(&SDFile, &tempBinaryBuffer, f_size(&SDFile), &bytesRead);

					if (bytesRead < 262140)
					{
						qspi_Erase(QSPI_START, QSPI_START+262140);
						qspi_Write(QSPI_START, 262140,(uint8_t*)tempBinaryBuffer);
						//HAL_GPIO_WritePin(GPIOC, GPIO_PIN_7, GPIO_PIN_SET);
					}

					f_close(&SDFile);

				}
			}

		  }

		f_closedir(&dir);
		f_mount(0, "", 0); //unmount
	}

}

void checkForNewFirmwareFromMainSynthBoard(void)
{
	if (boardNumber != 0)
	{
		if(HAL_GPIO_ReadPin(GPIOB, GPIO_PIN_12) ==  1)
		{
			HAL_StatusTypeDef returnVal = 0;

			MX_I2C1_Init();

			while(HAL_GPIO_ReadPin(GPIOB, GPIO_PIN_12) ==  1)
			{
				uint8_t fader = 0;
				HAL_GPIO_WritePin(GPIOC, GPIO_PIN_7, GPIO_PIN_SET);
				HAL_Delay(63-fader);//wait for pin to go back low
				HAL_GPIO_WritePin(GPIOC, GPIO_PIN_7, GPIO_PIN_RESET);
				HAL_Delay(fader);//wait for pin to go back low
				fader = (fader+1) % 64;

			}
			HAL_GPIO_WritePin(GPIOC, GPIO_PIN_7, GPIO_PIN_SET);
			returnVal = HAL_I2C_Slave_Receive(&hi2c1, tempBinaryBuffer, 65535,
					10000);
			if (returnVal != HAL_OK)
			{
				i2cError();
			}
			int i = 6;
			while(i--)
			{
				HAL_GPIO_TogglePin(GPIOC, GPIO_PIN_7);
				HAL_Delay(30);
			}
			HAL_GPIO_WritePin(GPIOC, GPIO_PIN_7, GPIO_PIN_RESET);
			returnVal = HAL_I2C_Slave_Receive(&hi2c1, tempBinaryBuffer+65535, 65535,
					10000);
			if (returnVal != HAL_OK)
			{
				i2cError();
			}
			i = 6;
			while(i--)
			{
				HAL_GPIO_TogglePin(GPIOC, GPIO_PIN_7);
				HAL_Delay(30);
			}

			HAL_GPIO_WritePin(GPIOC, GPIO_PIN_7, GPIO_PIN_SET);
			returnVal = HAL_I2C_Slave_Receive(&hi2c1, tempBinaryBuffer+131070, 65535,
					10000);
			if (returnVal != HAL_OK)
			{
				i2cError();
			}
			i = 6;
			while(i--)
			{
				HAL_GPIO_TogglePin(GPIOC, GPIO_PIN_7);
				HAL_Delay(30);
			}

			HAL_GPIO_WritePin(GPIOC, GPIO_PIN_7, GPIO_PIN_RESET);
			returnVal = HAL_I2C_Slave_Receive(&hi2c1, tempBinaryBuffer+196605, 65535,
					10000);
			if (returnVal != HAL_OK)
			{
				i2cError();
			}
			HAL_GPIO_WritePin(GPIOC, GPIO_PIN_7, GPIO_PIN_SET);
			i = 6;
			while(i--)
			{
				HAL_GPIO_TogglePin(GPIOC, GPIO_PIN_7);
				HAL_Delay(30);
			}

			qspi_Erase(QSPI_START, QSPI_START+262140);
			qspi_Write(QSPI_START, 262140,(uint8_t*)tempBinaryBuffer);
			HAL_GPIO_WritePin(GPIOC, GPIO_PIN_7, GPIO_PIN_RESET);
			  if (!memory_already_mapped)
			  {
				  qspi_enable_memory_mapped();

			  }
			  i = 6;
				while(i--)
				{
					HAL_GPIO_TogglePin(GPIOC, GPIO_PIN_7);
					HAL_Delay(30);
				}
			HAL_GPIO_WritePin(GPIOC, GPIO_PIN_7, GPIO_PIN_SET);

    	  HAL_I2C_DeInit(&hi2c1);
	 	  HAL_QSPI_MspDeInit(&hqspi);
		  HAL_RCC_DeInit();
		  HAL_DeInit();
  	 	  SysTick->CTRL = 0;
  	 	  SysTick->LOAD = 0;
  	 	  SysTick->VAL  = 0;
  	 	  HAL_NVIC_SystemReset();

		}
	}

}

// EXTI Line12 External Interrupt ISR Handler CallBackFun
void HAL_GPIO_EXTI_Callback(uint16_t GPIO_Pin)
{

}

__attribute__((noreturn)) static void boot_to(uint32_t addr)
{
    const uint32_t *vtor = (uint32_t *)addr;
    __disable_irq();
   // SCB_InvalidateDCache();
   // SCB_InvalidateICache();
    NVIC->ICER[0] = 0xFFFFFFFF;
    NVIC->ICER[1] = 0xFFFFFFFF;
    NVIC->ICER[2] = 0xFFFFFFFF;
    NVIC->ICER[3] = 0xFFFFFFFF;
    NVIC->ICER[4] = 0xFFFFFFFF;
    NVIC->ICER[5] = 0xFFFFFFFF;
    NVIC->ICER[6] = 0xFFFFFFFF;
    NVIC->ICER[7] = 0xFFFFFFFF;

    NVIC->ICPR[0] = 0xFFFFFFFF;
    NVIC->ICPR[1] = 0xFFFFFFFF;
    NVIC->ICPR[2] = 0xFFFFFFFF;
    NVIC->ICPR[3] = 0xFFFFFFFF;
    NVIC->ICPR[4] = 0xFFFFFFFF;
    NVIC->ICPR[5] = 0xFFFFFFFF;
    NVIC->ICPR[6] = 0xFFFFFFFF;
    NVIC->ICPR[7] = 0xFFFFFFFF;

    SysTick->CTRL = 0;
    SysTick->LOAD = 0; // Needed?
    SysTick->VAL = 0;  // Needed?
    SCB->ICSR |= SCB_ICSR_PENDSTCLR_Msk;

    SCB->SHCSR &= ~(SCB_SHCSR_USGFAULTENA_Msk | //
                    SCB_SHCSR_BUSFAULTENA_Msk | //
                    SCB_SHCSR_MEMFAULTENA_Msk);
    SCB->VTOR = addr;
    __set_MSP(vtor[0]);
    __set_PSP(vtor[0]);
    __set_CONTROL(0);
    void (*entry)(void) __attribute__((noreturn)) = (void *)vtor[1];
    entry();
    for (;;)
        ;
}
/* USER CODE END 4 */

 /* MPU Configuration */

void MPU_Config(void)
{
  MPU_Region_InitTypeDef MPU_InitStruct = {0};

  /* Disables the MPU */
  HAL_MPU_Disable();

  /** Initializes and configures the Region and the memory to be protected
  */
  MPU_InitStruct.Enable = MPU_REGION_ENABLE;
  MPU_InitStruct.Number = MPU_REGION_NUMBER0;
  MPU_InitStruct.BaseAddress = 0x90000000;
  MPU_InitStruct.Size = MPU_REGION_SIZE_8MB;
  MPU_InitStruct.SubRegionDisable = 0x0;
  MPU_InitStruct.TypeExtField = MPU_TEX_LEVEL0;
  MPU_InitStruct.AccessPermission = MPU_REGION_FULL_ACCESS;
  MPU_InitStruct.DisableExec = MPU_INSTRUCTION_ACCESS_ENABLE;
  MPU_InitStruct.IsShareable = MPU_ACCESS_NOT_SHAREABLE;
  MPU_InitStruct.IsCacheable = MPU_ACCESS_NOT_CACHEABLE;
  MPU_InitStruct.IsBufferable = MPU_ACCESS_NOT_BUFFERABLE;

  HAL_MPU_ConfigRegion(&MPU_InitStruct);
  /* Enables the MPU */
  HAL_MPU_Enable(MPU_PRIVILEGED_DEFAULT);

}

void Error_Handler(void)
{
  __disable_irq();
  while (1)
  {
  }
}
